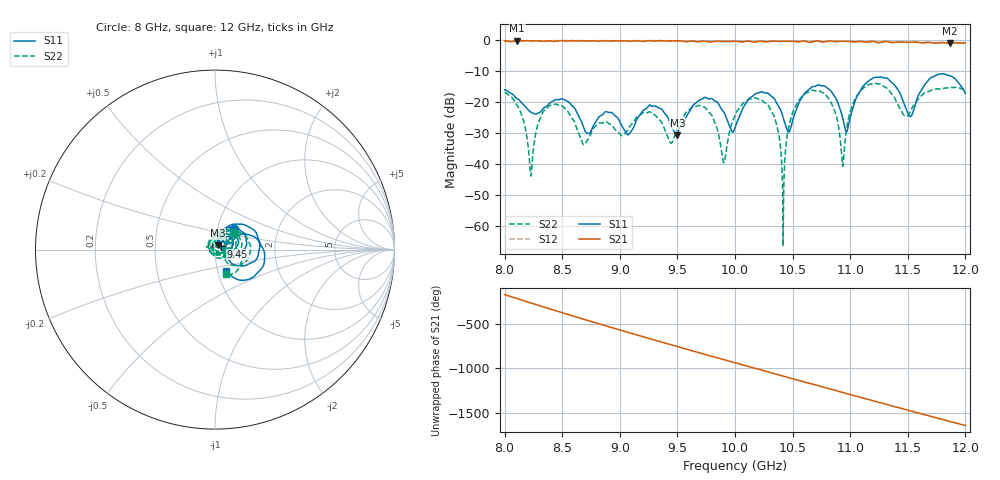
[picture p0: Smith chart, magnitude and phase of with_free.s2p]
!Agilent Technologies,E8362C,MY49020356,A.09.42.23
!Agilent E8362C: A.09.42.23
!Date: Wednesday, May 31, 2023 17:13:27
!Correction: S11(Full 2 Port(1,2))
!S21(Full 2 Port(1,2))
!S12(Full 2 Port(1,2))
!S22(Full 2 Port(1,2))
!S2P File: Measurements: S11, S21, S12, S22:
# Hz S  RI  R 50
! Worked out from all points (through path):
!   1601 points, 8 GHz to 12 GHz, reference 50 ohm
!   highest |S21| = -0.24 dB at 8.11 GHz (marker M1); lowest = -1.1 dB at 11.86 GHz (marker M2)
!   lowest |S11| = -30.8 dB at 9.5 GHz (marker M3), VSWR 1.06, Z = 51.5 + j2.54 ohm
!   |S11| at or under -10 dB: start of sweep to end of sweep
!   |S22| runs from -66.5 to -14.0 dB; largest |S21 - S12| = 0.033
!   S11 on the Smith chart (normalised r, x): 8 GHz: 1.20, +0.28; 9.45 GHz: 1.07, +0.04; 12 GHz: 1.10, -0.27
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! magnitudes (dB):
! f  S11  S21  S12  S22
! 8 GHz  -16.1  -0.3  -0.6  -17.0
! 8.11 GHz  -19.0  -0.2  -0.5  -21.2
! 8.227 GHz  -23.3  -0.3  -0.4  -43.9
! 8.4 GHz  -20.2  -0.4  -0.3  -21.1
! 8.668 GHz  -26.5  -0.3  -0.3  -32.5
! 9.335 GHz  -21.9  -0.3  -0.5  -25.5
! 9.45 GHz  -28.2  -0.3  -0.5  -33.3
! 9.5 GHz  -30.8  -0.3  -0.4  -28.9
! 9.732 GHz  -18.6  -0.4  -0.3  -21.7
! 9.902 GHz  -23.3  -0.5  -0.5  -39.6
! 10 GHz  -28.5  -0.4  -0.4  -24.4
! 10.29 GHz  -17.2  -0.6  -0.7  -21.0
! 10.42 GHz  -25.0  -0.5  -0.5  -66.5
! 10.5 GHz  -26.4  -0.4  -0.4  -23.8
! 10.67 GHz  -15.2  -0.7  -0.8  -16.3
! 10.84 GHz  -16.7  -0.5  -0.4  -20.5
! 10.94 GHz  -25.2  -0.5  -0.4  -40.8
! 11.06 GHz  -18.1  -0.6  -0.6  -17.8
! 11.34 GHz  -12.9  -0.7  -0.6  -16.3
! 11.52 GHz  -24.7  -0.8  -0.8  -23.0
! 11.86 GHz  -11.5  -1.1  -1.2  -15.4
! 12 GHz  -17.3  -1.0  -1.1  -16.6
